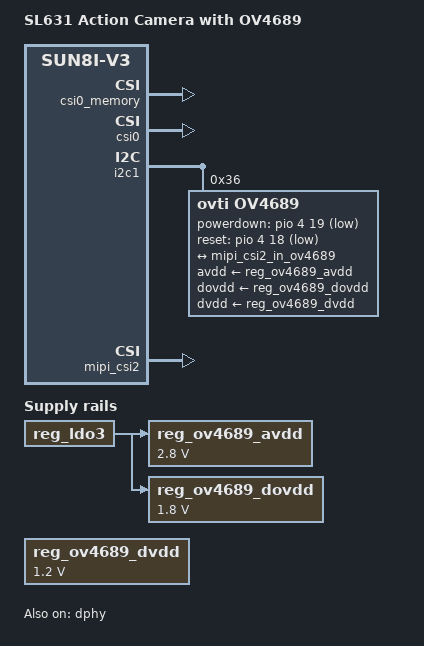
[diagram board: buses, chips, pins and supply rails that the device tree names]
// SPDX-License-Identifier: (GPL-2.0+ OR X11)
/*
 * Copyright 2020 Paul Kocialkowski <contact@paulk.fr>
 */

#include "sun8i-v3-sl631.dtsi"

/ {
	model = "SL631 Action Camera with OV4689";
	compatible = "allwinner,sl631-ov4689", "allwinner,sl631",
		     "allwinner,sun8i-v3";

	reg_ov4689_avdd: ov4689-avdd {
		compatible = "regulator-fixed";
		regulator-name = "ov4689-avdd";
		regulator-min-microvolt = <2800000>;
		regulator-max-microvolt = <2800000>;
		vin-supply = <&reg_ldo3>;
	};

	reg_ov4689_dvdd: ov4689-dvdd {
		compatible = "regulator-fixed";
		regulator-name = "ov4689-dvdd";
		regulator-min-microvolt = <1200000>;
		regulator-max-microvolt = <1200000>;
	};

	reg_ov4689_dovdd: ov4689-dovdd {
		compatible = "regulator-fixed";
		regulator-name = "ov4689-dovdd";
		regulator-min-microvolt = <1800000>;
		regulator-max-microvolt = <1800000>;
		vin-supply = <&reg_ldo3>;
	};

	reserved-memory {
		#address-cells = <1>;
		#size-cells = <1>;
		ranges;

		csi0_memory: pool {
			compatible = "shared-dma-pool";
			size = <0x2000000>;
			no-align;
			no-map;
		};
	};
};

&csi0 {
	memory-region = <&csi0_memory>;
	status = "okay";
};

&dphy {
	status = "okay";
};

&i2c1 {
	pinctrl-0 = <&i2c1_pe_pins>;

	ov4689: camera@36 {
		compatible = "ovti,ov4689";
		reg = <0x36>;
		pinctrl-names = "default";
		pinctrl-0 = <&csi0_mclk_pin>;
		clocks = <&ccu CLK_CSI0_MCLK>;
		assigned-clocks = <&ccu CLK_CSI0_MCLK>;
		assigned-clock-rates = <24000000>;
		avdd-supply = <&reg_ov4689_avdd>;
		dovdd-supply = <&reg_ov4689_dovdd>;
		dvdd-supply = <&reg_ov4689_dvdd>;
		powerdown-gpios = <&pio 4 19 GPIO_ACTIVE_LOW>; /* PE19*/
		reset-gpios = <&pio 4 18 GPIO_ACTIVE_LOW>; /* PE18 */

		port {
			ov4689_out_mipi_csi2: endpoint {
				data-lanes = <1 2 3 4>;
				link-frequencies = /bits/ 64 <360000000>;

				remote-endpoint = <&mipi_csi2_in_ov4689>;
			};
		};
	};
};

&mipi_csi2 {
	status = "okay";
};

&mipi_csi2_in {
	mipi_csi2_in_ov4689: endpoint {
		data-lanes = <1 2 3 4>;

		remote-endpoint = <&ov4689_out_mipi_csi2>;
	};
};
